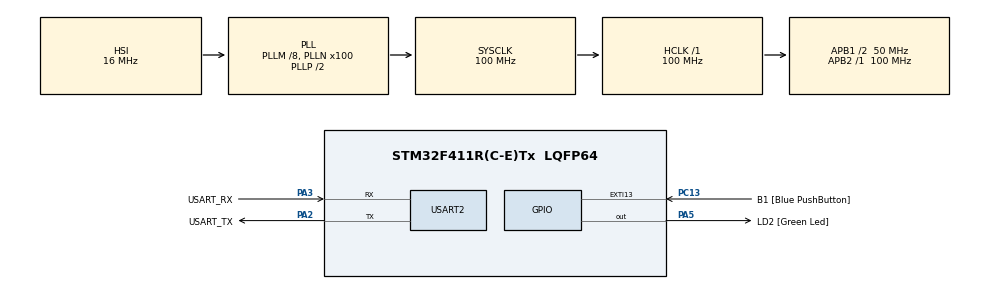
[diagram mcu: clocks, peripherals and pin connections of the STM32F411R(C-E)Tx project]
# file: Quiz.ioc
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Mcu.Family=STM32F4
Mcu.Name=STM32F411R(C-E)Tx
Mcu.Package=LQFP64
NVIC.PriorityGroup=NVIC_PRIORITYGROUP_0
PA13.GPIO_Label=TMS
PA13.Mode=Serial_Wire
PA13.Signal=SYS_JTMS-SWDIO
PA14.GPIO_Label=TCK
PA14.Mode=Serial_Wire
PA14.Signal=SYS_JTCK-SWCLK
PA2.GPIO_Label=USART_TX
PA2.Mode=Asynchronous
PA2.Signal=USART2_TX
PA3.GPIO_Label=USART_RX
PA3.Mode=Asynchronous
PA3.Signal=USART2_RX
PA5.GPIO_Label=LD2 [Green Led]
PA5.Signal=GPIO_Output
PB3.GPIO_Label=SWO
PB3.Signal=SYS_JTDO-SWO
PC13-ANTI_TAMP.GPIO_Label=B1 [Blue PushButton]
PC13-ANTI_TAMP.GPIO_ModeDefaultEXTI=GPIO_MODE_IT_FALLING
PC13-ANTI_TAMP.Signal=GPXTI13
PC14-OSC32_IN.Mode=LSE-External-Oscillator
PC14-OSC32_IN.Signal=RCC_OSC32_IN
PC15-OSC32_OUT.Mode=LSE-External-Oscillator
PC15-OSC32_OUT.Signal=RCC_OSC32_OUT
PH0\ -\ OSC_IN.Mode=HSE-External-Clock-Source
PH0\ -\ OSC_IN.Signal=RCC_OSC_IN
PH1\ -\ OSC_OUT.Mode=HSE-External-Clock-Source
PH1\ -\ OSC_OUT.Signal=RCC_OSC_OUT
ProjectManager.HeapSize=0x200
ProjectManager.StackSize=0x400
ProjectManager.TargetToolchain=STM32CubeIDE
RCC.48MHZClocksFreq_Value=50000000
RCC.AHBFreq_Value=100000000
RCC.APB1CLKDivider=RCC_HCLK_DIV2
RCC.APB1Freq_Value=50000000
RCC.APB1TimFreq_Value=100000000
RCC.APB2Freq_Value=100000000
RCC.APB2TimFreq_Value=100000000
RCC.CortexFreq_Value=100000000
RCC.FLatency-AdvancedSettings=FLASH_LATENCY_3
RCC.HCLKFreq_Value=100000000
RCC.HSE_VALUE=8000000
RCC.HSI_VALUE=16000000
RCC.PLLM=8
RCC.PLLN=100
RCC.SYSCLKFreq_VALUE=100000000
RCC.SYSCLKSource=RCC_SYSCLKSOURCE_PLLCLK
RCC.VCOOutputFreq_Value=200000000
USART2.VirtualMode=VM_ASYNC
board=NUCLEO-F411RE

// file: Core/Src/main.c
/* USER CODE BEGIN Header */
/**
  ******************************************************************************
  * @file           : main.c
  * @brief          : Main program body
  ******************************************************************************
  * @attention
  *
  * Copyright (c) 2023 STMicroelectronics.
  * All rights reserved.
  *
  * This software is licensed under terms that can be found in the LICENSE file
  * in the root directory of this software component.
  * If no LICENSE file comes with this software, it is provided AS-IS.
  *
  ******************************************************************************
  */
/* USER CODE END Header */
#include "main.h"

UART_HandleTypeDef huart2;

void SystemClock_Config(void);
static void MX_GPIO_Init(void);
static void MX_USART2_UART_Init(void);

int main(void)
{

  /* MCU Configuration--------------------------------------------------------*/

  /* Reset of all peripherals, Initializes the Flash interface and the Systick. */
  HAL_Init();

  /* Configure the system clock */
  SystemClock_Config();

  /* Initialize all configured peripherals */
  MX_GPIO_Init();
  MX_USART2_UART_Init();

  /* Infinite loop */
  /* USER CODE BEGIN WHILE */
  int state = 0,state2 = 0,now = 1,cnt = 0;
  int delayTime = 25;
  int timeSchedule[2][2] = {{50/delayTime,50/delayTime},{500/delayTime,500/delayTime}};
  int onTime = 100/delayTime,offTime = 1000/delayTime;
  uint8_t data[1],buffer[2];
  int running = 1;
  while (1)
  {
	if(!running)	break;
	int buttonPressed = !HAL_GPIO_ReadPin(GPIOC, GPIO_PIN_13);
	if(buttonPressed && state == 0){
		state = 1;
	}else if(!buttonPressed && state == 1){
		state = 0;
		cnt = 0;
		now = !now;
		onTime = timeSchedule[now][0];
		offTime = onTime + timeSchedule[now][1];
	}
	cnt++;
	if(cnt <= onTime)	HAL_GPIO_WritePin(GPIOA, GPIO_PIN_5, GPIO_PIN_SET);
	else				HAL_GPIO_WritePin(GPIOA, GPIO_PIN_5, GPIO_PIN_RESET);
	cnt%=offTime;
	HAL_UART_Receive(&huart2, data, 1, delayTime);
	HAL_UART_Transmit(&huart2, data, 1, 0);
	if(data[0] != '\0'){
		if(data[0] == 'q' && (state2 == 0 || state2 == 1)){
			state2 = 1;
			data[0] = '\0';
		}else if(data[0] == '!' && state2 == 1){
			HAL_GPIO_WritePin(GPIOA, GPIO_PIN_5, GPIO_PIN_RESET);
			state2 = 2;
			data[0] = '\0';
		}else if(data[0] == '\r' && state2 == 2){
			HAL_GPIO_WritePin(GPIOA, GPIO_PIN_5, GPIO_PIN_RESET);
			state2 = 3;
			running = 0;
			data[0] = '\0';
			break;
		}else if(state2 != 3){
			state2 = 0;
			data[0] = '\0';
		}
	}
    /* USER CODE END WHILE */

  }
}

void SystemClock_Config(void)
{
  RCC_OscInitTypeDef RCC_OscInitStruct = {0};
  RCC_ClkInitTypeDef RCC_ClkInitStruct = {0};

  /** Configure the main internal regulator output voltage
  */
  __HAL_RCC_PWR_CLK_ENABLE();
  __HAL_PWR_VOLTAGESCALING_CONFIG(PWR_REGULATOR_VOLTAGE_SCALE1);

  /** Initializes the RCC Oscillators according to the specified parameters
  * in the RCC_OscInitTypeDef structure.
  */
  RCC_OscInitStruct.OscillatorType = RCC_OSCILLATORTYPE_HSI;
  RCC_OscInitStruct.HSIState = RCC_HSI_ON;
  RCC_OscInitStruct.HSICalibrationValue = RCC_HSICALIBRATION_DEFAULT;
  RCC_OscInitStruct.PLL.PLLState = RCC_PLL_ON;
  RCC_OscInitStruct.PLL.PLLSource = RCC_PLLSOURCE_HSI;
  RCC_OscInitStruct.PLL.PLLM = 8;
  RCC_OscInitStruct.PLL.PLLN = 100;
  RCC_OscInitStruct.PLL.PLLP = RCC_PLLP_DIV2;
  RCC_OscInitStruct.PLL.PLLQ = 4;
  if (HAL_RCC_OscConfig(&RCC_OscInitStruct) != HAL_OK)
  {
    Error_Handler();
  }

  /** Initializes the CPU, AHB and APB buses clocks
  */
  RCC_ClkInitStruct.ClockType = RCC_CLOCKTYPE_HCLK|RCC_CLOCKTYPE_SYSCLK
                              |RCC_CLOCKTYPE_PCLK1|RCC_CLOCKTYPE_PCLK2;
  RCC_ClkInitStruct.SYSCLKSource = RCC_SYSCLKSOURCE_PLLCLK;
  RCC_ClkInitStruct.AHBCLKDivider = RCC_SYSCLK_DIV1;
  RCC_ClkInitStruct.APB1CLKDivider = RCC_HCLK_DIV2;
  RCC_ClkInitStruct.APB2CLKDivider = RCC_HCLK_DIV1;

  if (HAL_RCC_ClockConfig(&RCC_ClkInitStruct, FLASH_LATENCY_3) != HAL_OK)
  {
    Error_Handler();
  }
}

static void MX_USART2_UART_Init(void)
{

  huart2.Instance = USART2;
  huart2.Init.BaudRate = 115200;
  huart2.Init.WordLength = UART_WORDLENGTH_8B;
  huart2.Init.StopBits = UART_STOPBITS_1;
  huart2.Init.Parity = UART_PARITY_NONE;
  huart2.Init.Mode = UART_MODE_TX_RX;
  huart2.Init.HwFlowCtl = UART_HWCONTROL_NONE;
  huart2.Init.OverSampling = UART_OVERSAMPLING_16;
  if (HAL_UART_Init(&huart2) != HAL_OK)
  {
    Error_Handler();
  }

}

static void MX_GPIO_Init(void)
{
  GPIO_InitTypeDef GPIO_InitStruct = {0};

  /* GPIO Ports Clock Enable */
  __HAL_RCC_GPIOC_CLK_ENABLE();
  __HAL_RCC_GPIOH_CLK_ENABLE();
  __HAL_RCC_GPIOA_CLK_ENABLE();
  __HAL_RCC_GPIOB_CLK_ENABLE();

  /*Configure GPIO pin Output Level */
  HAL_GPIO_WritePin(LD2_GPIO_Port, LD2_Pin, GPIO_PIN_RESET);

  /*Configure GPIO pin : B1_Pin */
  GPIO_InitStruct.Pin = B1_Pin;
  GPIO_InitStruct.Mode = GPIO_MODE_IT_FALLING;
  GPIO_InitStruct.Pull = GPIO_NOPULL;
  HAL_GPIO_Init(B1_GPIO_Port, &GPIO_InitStruct);

  /*Configure GPIO pin : LD2_Pin */
  GPIO_InitStruct.Pin = LD2_Pin;
  GPIO_InitStruct.Mode = GPIO_MODE_OUTPUT_PP;
  GPIO_InitStruct.Pull = GPIO_NOPULL;
  GPIO_InitStruct.Speed = GPIO_SPEED_FREQ_LOW;
  HAL_GPIO_Init(LD2_GPIO_Port, &GPIO_InitStruct);

}

void Error_Handler(void)
{
  __disable_irq();
  while (1)
  {
  }
}
